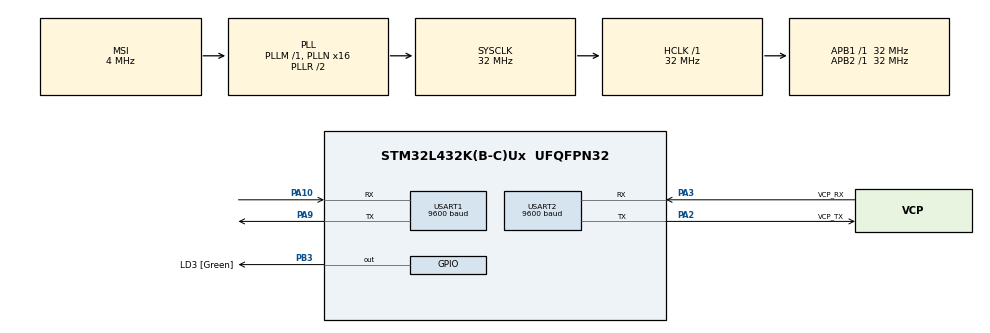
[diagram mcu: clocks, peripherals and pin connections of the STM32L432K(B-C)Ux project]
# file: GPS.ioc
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Mcu.Family=STM32L4
Mcu.Name=STM32L432K(B-C)Ux
Mcu.Package=UFQFPN32
NVIC.PriorityGroup=NVIC_PRIORITYGROUP_4
NVIC.USART1_IRQn=true\:0\:0\:false\:false\:true\:true\:true\:true
NVIC.USART2_IRQn=true\:0\:0\:false\:false\:true\:true\:true\:true
PA10.Mode=Asynchronous
PA10.Signal=USART1_RX
PA13\ (JTMS-SWDIO).GPIO_Label=SWDIO
PA13\ (JTMS-SWDIO).Signal=SYS_JTMS-SWDIO
PA14\ (JTCK-SWCLK).GPIO_Label=SWCLK
PA14\ (JTCK-SWCLK).Signal=SYS_JTCK-SWCLK
PA2.GPIO_Label=VCP_TX
PA2.Mode=Asynchronous
PA2.Signal=USART2_TX
PA3.GPIO_Label=VCP_RX
PA3.Mode=Asynchronous
PA3.Signal=USART2_RX
PA9.Mode=Asynchronous
PA9.Signal=USART1_TX
PB3\ (JTDO-TRACESWO).GPIO_Label=LD3 [Green]
PB3\ (JTDO-TRACESWO).Signal=GPIO_Output
PC14-OSC32_IN\ (PC14).Signal=RCC_OSC32_IN
PC15-OSC32_OUT\ (PC15).Signal=RCC_OSC32_OUT
ProjectManager.HeapSize=0x200
ProjectManager.StackSize=0x400
ProjectManager.TargetToolchain=STM32CubeIDE
RCC.AHBFreq_Value=32000000
RCC.APB1Freq_Value=32000000
RCC.APB1TimFreq_Value=32000000
RCC.APB2Freq_Value=32000000
RCC.APB2TimFreq_Value=32000000
RCC.CortexFreq_Value=32000000
RCC.HCLKFreq_Value=32000000
RCC.HSE_VALUE=8000000
RCC.HSI16_VALUE=16000000
RCC.HSI48_VALUE=48000000
RCC.HSI_VALUE=16000000
RCC.LSE_VALUE=32768
RCC.MSI_VALUE=4000000
RCC.PLLMUL=RCC_PLLMUL_4
RCC.PLLN=16
RCC.SYSCLKFreq_VALUE=32000000
RCC.SYSCLKSource=RCC_SYSCLKSOURCE_PLLCLK
RCC.VCOOutputFreq_Value=64000000
USART1.BaudRate=9600
USART1.VirtualMode-Asynchronous=VM_ASYNC
USART2.BaudRate=9600
USART2.VirtualMode-Asynchronous=VM_ASYNC
board=NUCLEO-L432KC

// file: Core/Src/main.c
/* USER CODE BEGIN Header */
/**
  ******************************************************************************
  * @file           : main.c
  * @brief          : Main program body
  ******************************************************************************
  * @attention
  *
  * Copyright (c) 2023 STMicroelectronics.
  * All rights reserved.
  *
  * This software is licensed under terms that can be found in the LICENSE file
  * in the root directory of this software component.
  * If no LICENSE file comes with this software, it is provided AS-IS.
  *
  ******************************************************************************
  */
/* USER CODE END Header */
#include "main.h"

/* USER CODE BEGIN Includes */
#include "stdlib.h"
#include "stdio.h"
#include <string.h>
#include "stm32l4xx_hal_uart.h"
/* USER CODE END Includes */

UART_HandleTypeDef huart1;
UART_HandleTypeDef huart2;

/* USER CODE BEGIN PV */
#define USART1_ADDR = 0x40013800
#define USART1_CR1_OFFSET = 0x0
#define USART1_BRR _OFFSET = 0xC
#define USART1_CR2_OFFSET = 0x4
#define USART1_CR3_OFFSET = 0x8

volatile char rxBuffer[70] = "";

/* USER CODE END PV */

void SystemClock_Config(void);
static void MX_GPIO_Init(void);
static void MX_USART1_UART_Init(void);
static void MX_USART2_UART_Init(void);

int main(void)
{

  /* MCU Configuration--------------------------------------------------------*/

  /* Reset of all peripherals, Initializes the Flash interface and the Systick. */
  HAL_Init();

  /* Configure the system clock */
  SystemClock_Config();

  /* Initialize all configured peripherals */
  MX_GPIO_Init();
  MX_USART1_UART_Init();
  MX_USART2_UART_Init();
  /* USER CODE BEGIN 2 */
  //enable GGA (contains the precision data) and RMC (contains all the minimum navigation info)
  //data on the GPS
  char inputBuffer[] = "PMTK314,0,1,0,1,0,0,0,0,0,0,0,0,0,0,0,0,0,0,0";
  HAL_UART_Transmit(&huart1, (uint8_t *) inputBuffer, sizeof(inputBuffer), 100);

  char dataBuffer[70]="ASDFADFHDFGASDFASDFSDFHDASDF";//max chars of 70 from gpgga
  int dataElementNum = 0;

  char dataType[] = "XXXXXX";

  char latitudeChar[] = "lllll.ll";
  double latitude = 0;

  char latDir = 'A';//N or S

  char longitudeChar[] = "yyyyy.yy";
  double longitude = 0;

  char longDir = 'A';//E or W

  uint8_t fix = 0;//0 = invalid, 1 = GPS fix, 2 = Dif. GPS fix

  uint8_t numSatellites = 0;

  double hdop = 0;//Horizontal Dilution of Precision
  char hdopChar[] = "x.x";

  double altitude = 0;
  char altitudeChar[] = "x.x";

  char altitudeUnits = 'M';//M = meters
  //they have a checksum, do we need to use it?

  /* USER CODE END 2 */

  /* Infinite loop */
  /* USER CODE BEGIN WHILE */
  while (1)
  {
	//The last parameter is the number of data elements to be received, this will need to be changed based on the max # bytes the GPS sends
	//The number of bytes can change based on whether the GPS has a fix or not so that's a problem
	//printf("test:2,23,32,4,23,4,423,43");
	//__HAL_UART_FLUSH_DRREGISTER(&huart1);
	HAL_UART_Receive(&huart1, (uint8_t *) dataBuffer, 68, 10000);
	//huart->RxISR(huart); might hold some data?

	int index = 0;

	for(uint8_t i = 0; i < 70; ++i){
		char letter = *(dataBuffer+i);

		//printf("%c", letter);

		if(letter == ','){
			++dataElementNum;
			index = 0;
		}

		if(dataElementNum == 0 && letter != ','){
			//datatype, either GPGGA or GPRMC
			dataType[index] = letter;
			++index;
		}

		if(strcmp(dataType,"$GPGGA") == 0 && letter != ','){
			if (dataElementNum == 1 ){
				//This is the UTC (time) if we need it
			} else if (dataElementNum == 2 ){
				latitudeChar[index] = letter;
				++index;
				if(*(dataBuffer+i+1) == ','){
					latitude = atof(latitudeChar);
				}

			} else if (dataElementNum == 3){
				latDir = letter;

			} else if (dataElementNum == 4){
				longitudeChar[index] = letter;
				++index;
				if(*(dataBuffer+i+1) == ','){
					longitude = atof(longitudeChar);
				}

			} else if (dataElementNum == 5){
				longDir = letter;

			} else if (dataElementNum == 6){
				fix = (uint8_t) letter;

			} else if (dataElementNum == 7){
				//sus?
				numSatellites = (uint8_t) letter;

			} else if (dataElementNum == 8){
				hdopChar[index] = letter;
				++index;
				if(*(dataBuffer+i+1) == ','){
					hdop = atof(hdopChar);
				}

			} else if (dataElementNum == 9){
				altitudeChar[index] = letter;
				++index;
				if(*(dataBuffer+i+1) == ','){
					altitude = atof(altitudeChar);
				}

			} else if (dataElementNum == 10){
				altitudeUnits = letter;

			} else if (dataElementNum == 11){
				break;
			}

		} else if(strcmp(dataType,"$GPRMC") == 0 ){
			if (dataElementNum == 1 ){

			} else if (dataElementNum == 2){

			} else if (dataElementNum == 3){

			} else if (dataElementNum == 4){

			} else if (dataElementNum == 5){

			} else if (dataElementNum == 6){

			} else if (dataElementNum == 7){

			} else if (dataElementNum == 8){

			} else if (dataElementNum == 9){

			} else if (dataElementNum == 10){

			} else if (dataElementNum == 11){

			} else if (dataElementNum == 12){

			} else if (dataElementNum == 13){

			} else if (dataElementNum == 14){

			} else if (dataElementNum == 15){

			}
		}

	}
	/*
	 * char latDir = "";//N or S

  char longitudeChar[] = "";
  double longitude = 0;

  char longDir = "";//E or W

  uint8_t fix = 0;//0 = invalid, 1 = GPS fix, 2 = Dif. GPS fix

  uint8_t numSatellites = 0;

  double hdop = 0;//Horizontal Dilution of Precision
  char hdopChar[] = "";

  double altitude = 0;
  char altitudeChar[] = "";

  char altitudeUnits = 'M';//M = meters*/
	printf("Latitude: %f", latitude);
	printf(" %c", latDir);
	printf(" | Longitude: %f", longitude);
	printf(" %c", longDir);
	printf(" | GPS fix?: %u", fix);
	printf(" | Satellites: %u", numSatellites);
	printf(" | HDOP: %f", hdop);
	printf(" | altitude: %f", altitude);
	printf(" %c", altitudeUnits);
	printf("\n");

    /* USER CODE END WHILE */

  }
}

void SystemClock_Config(void)
{
  RCC_OscInitTypeDef RCC_OscInitStruct = {0};
  RCC_ClkInitTypeDef RCC_ClkInitStruct = {0};

  /** Configure the main internal regulator output voltage
  */
  if (HAL_PWREx_ControlVoltageScaling(PWR_REGULATOR_VOLTAGE_SCALE1) != HAL_OK)
  {
    Error_Handler();
  }

  /** Initializes the RCC Oscillators according to the specified parameters
  * in the RCC_OscInitTypeDef structure.
  */
  RCC_OscInitStruct.OscillatorType = RCC_OSCILLATORTYPE_MSI;
  RCC_OscInitStruct.MSIState = RCC_MSI_ON;
  RCC_OscInitStruct.MSICalibrationValue = 0;
  RCC_OscInitStruct.MSIClockRange = RCC_MSIRANGE_6;
  RCC_OscInitStruct.PLL.PLLState = RCC_PLL_ON;
  RCC_OscInitStruct.PLL.PLLSource = RCC_PLLSOURCE_MSI;
  RCC_OscInitStruct.PLL.PLLM = 1;
  RCC_OscInitStruct.PLL.PLLN = 16;
  RCC_OscInitStruct.PLL.PLLP = RCC_PLLP_DIV7;
  RCC_OscInitStruct.PLL.PLLQ = RCC_PLLQ_DIV2;
  RCC_OscInitStruct.PLL.PLLR = RCC_PLLR_DIV2;
  if (HAL_RCC_OscConfig(&RCC_OscInitStruct) != HAL_OK)
  {
    Error_Handler();
  }

  /** Initializes the CPU, AHB and APB buses clocks
  */
  RCC_ClkInitStruct.ClockType = RCC_CLOCKTYPE_HCLK|RCC_CLOCKTYPE_SYSCLK
                              |RCC_CLOCKTYPE_PCLK1|RCC_CLOCKTYPE_PCLK2;
  RCC_ClkInitStruct.SYSCLKSource = RCC_SYSCLKSOURCE_PLLCLK;
  RCC_ClkInitStruct.AHBCLKDivider = RCC_SYSCLK_DIV1;
  RCC_ClkInitStruct.APB1CLKDivider = RCC_HCLK_DIV1;
  RCC_ClkInitStruct.APB2CLKDivider = RCC_HCLK_DIV1;

  if (HAL_RCC_ClockConfig(&RCC_ClkInitStruct, FLASH_LATENCY_1) != HAL_OK)
  {
    Error_Handler();
  }
}

static void MX_USART1_UART_Init(void)
{

  huart1.Instance = USART1;
  huart1.Init.BaudRate = 9600;
  huart1.Init.WordLength = UART_WORDLENGTH_8B;
  huart1.Init.StopBits = UART_STOPBITS_1;
  huart1.Init.Parity = UART_PARITY_NONE;
  huart1.Init.Mode = UART_MODE_TX_RX;
  huart1.Init.HwFlowCtl = UART_HWCONTROL_NONE;
  huart1.Init.OverSampling = UART_OVERSAMPLING_16;
  huart1.Init.OneBitSampling = UART_ONE_BIT_SAMPLE_DISABLE;
  huart1.AdvancedInit.AdvFeatureInit = UART_ADVFEATURE_NO_INIT;
  if (HAL_UART_Init(&huart1) != HAL_OK)
  {
    Error_Handler();
  }

}

static void MX_USART2_UART_Init(void)
{

  huart2.Instance = USART2;
  huart2.Init.BaudRate = 9600;
  huart2.Init.WordLength = UART_WORDLENGTH_8B;
  huart2.Init.StopBits = UART_STOPBITS_1;
  huart2.Init.Parity = UART_PARITY_NONE;
  huart2.Init.Mode = UART_MODE_TX_RX;
  huart2.Init.HwFlowCtl = UART_HWCONTROL_NONE;
  huart2.Init.OverSampling = UART_OVERSAMPLING_16;
  huart2.Init.OneBitSampling = UART_ONE_BIT_SAMPLE_DISABLE;
  huart2.AdvancedInit.AdvFeatureInit = UART_ADVFEATURE_NO_INIT;
  if (HAL_UART_Init(&huart2) != HAL_OK)
  {
    Error_Handler();
  }

}

static void MX_GPIO_Init(void)
{
  GPIO_InitTypeDef GPIO_InitStruct = {0};

  /* GPIO Ports Clock Enable */
  __HAL_RCC_GPIOC_CLK_ENABLE();
  __HAL_RCC_GPIOA_CLK_ENABLE();
  __HAL_RCC_GPIOB_CLK_ENABLE();

  /*Configure GPIO pin Output Level */
  HAL_GPIO_WritePin(LD3_GPIO_Port, LD3_Pin, GPIO_PIN_RESET);

  /*Configure GPIO pin : LD3_Pin */
  GPIO_InitStruct.Pin = LD3_Pin;
  GPIO_InitStruct.Mode = GPIO_MODE_OUTPUT_PP;
  GPIO_InitStruct.Pull = GPIO_NOPULL;
  GPIO_InitStruct.Speed = GPIO_SPEED_FREQ_LOW;
  HAL_GPIO_Init(LD3_GPIO_Port, &GPIO_InitStruct);

}

/* USER CODE BEGIN 4 */
#ifdef __GNUC__
#define PUTCHAR_PROTOTYPE int __io_putchar(int ch)
#else
  #define PUTCHAR_PROTOTYPE int fputc(int ch, FILE *f)
#endif /* __GNUC__ */
PUTCHAR_PROTOTYPE
{
  HAL_UART_Transmit(&huart1, (uint8_t *)&ch, 1, 0xFFFF);
  return ch;
}

/* USER CODE END 4 */

void Error_Handler(void)
{
  __disable_irq();
  while (1)
  {
  }
}
